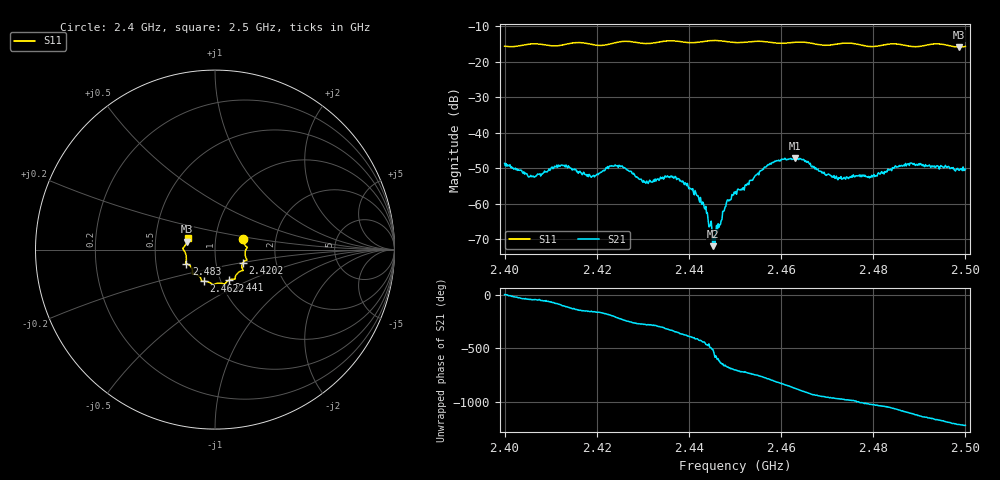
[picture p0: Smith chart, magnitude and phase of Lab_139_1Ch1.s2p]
# Hz S RI R 50
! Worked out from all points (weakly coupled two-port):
!   601 points, 2.4 GHz to 2.5 GHz, reference 50 ohm
!   highest |S21| = -47.07 dB at 2.463 GHz (marker M1); lowest = -71.9 dB at 2.4452 GHz (marker M2)
!   lowest |S11| = -15.8 dB at 2.4987 GHz (marker M3), VSWR 1.39, Z = 36.4 + j3.32 ohm
!   |S11| at or under -10 dB: start of sweep to end of sweep
!   S12 and S22 are empty: the file has one direction only
!   S11 on the Smith chart (normalised r, x): 2.4 GHz: 1.36, +0.17; 2.4202 GHz: 1.35, -0.20; 2.441 GHz: 1.09, -0.39; 2.4622 GHz: 0.83, -0.30; 2.483 GHz: 0.72, -0.12; 2.5 GHz: 0.73, +0.09
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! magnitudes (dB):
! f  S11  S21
! 2.4 GHz  -15.5  -48.6
! 2.4055 GHz  -14.9  -52.3
! 2.4122 GHz  -15.3  -49.2
! 2.4167 GHz  -14.6  -51.3
! 2.4202 GHz  -15.3  -51.6
! 2.4245 GHz  -14.4  -49.2
! 2.4303 GHz  -14.8  -53.9
! 2.4333 GHz  -14.4  -52.9
! 2.4367 GHz  -14.0  -52.7
! 2.441 GHz  -14.6  -56.9
! 2.4435 GHz  -14.2  -61.4
! 2.4452 GHz  -13.9  -71.9
! 2.45 GHz  -14.5  -57.0
! 2.4575 GHz  -14.4  -48.7
! 2.4622 GHz  -14.5  -47.3
! 2.463 GHz  -14.4  -47.1
! 2.4667 GHz  -14.7  -49.6
! 2.4727 GHz  -14.8  -52.7
! 2.483 GHz  -15.0  -51.0
! 2.4833 GHz  -15.0  -50.4
! 2.4987 GHz  -15.8  -50.5
! 2.5 GHz  -15.6  -50.2
